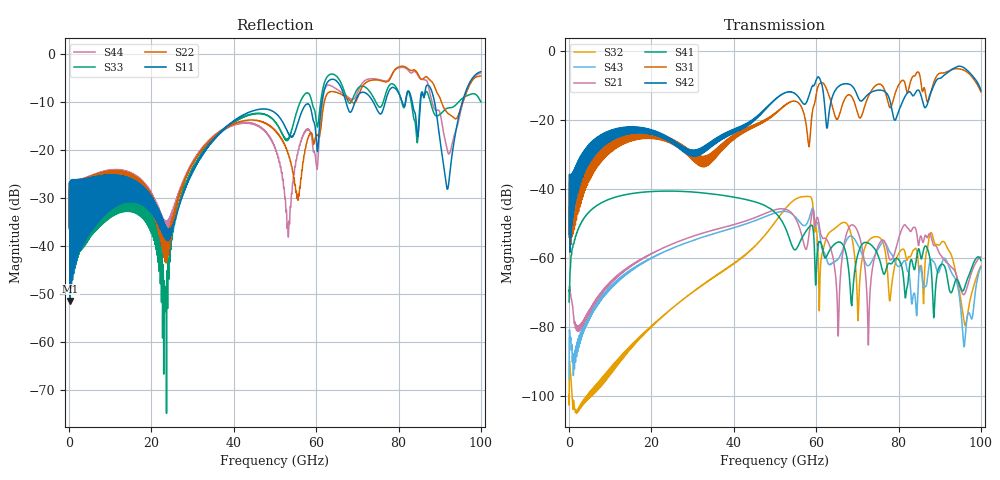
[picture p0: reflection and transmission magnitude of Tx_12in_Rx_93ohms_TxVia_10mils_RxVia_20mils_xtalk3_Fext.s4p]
! Info: Touchstone file created by Circ.  Input file=Tx_12in_Rx_93ohms_TxVia_10mils_RxVia_20mils.circ
# Hz S RI R 50
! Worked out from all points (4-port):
!   10000 points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, 10 MHz to 100 GHz, reference 50 ohm
!   strongest paths, dB at 10 MHz, 25.01 GHz, 50.01 GHz, 75.01 GHz, 100 GHz:
!     S42: -53.2, -26.6, -14.2, -11.4, -11.4
!     S31: -54.0, -26.6, -18.3, -9.7, -11.9
!     S41: -72.7, -40.6, -46.8, -59.1, -60.7
!     S21: -69.7, -55.9, -46.0, -56.6, -59.7
!     S43: -95.0, -57.2, -46.9, -57.4, -62.6
!     S32: -99.6, -74.5, -49.6, -53.9, -62.3
!   lowest |S11| = -51.5 dB at 270 MHz (marker M1), VSWR 1.01, Z = 49.8 - j0.199 ohm
!   |S11| at or under -10 dB: start of sweep to 61.4 GHz; 73.87 GHz to 76.78 GHz (2.913 GHz wide, 3.87 % of centre); 88.75 GHz to 95.49 GHz (6.741 GHz wide, 7.32 % of centre)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
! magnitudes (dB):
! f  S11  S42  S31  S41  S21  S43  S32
! 10 MHz  -35.8  -53.2  -54.0  -72.7  -69.7  -95.0  -99.6
! 270 MHz  -51.5  -47.1  -47.1  -63.3  -69.9  -84.3  -92.5
! 23.44 GHz  -38.2  -24.7  -24.8  -40.6  -56.8  -58.0  -76.0
! 56.71 GHz  -11.6  -15.1  -17.1  -53.8  -54.4  -50.4  -42.2
! 70.19 GHz  -8.6  -13.5  -18.6  -58.7  -52.6  -56.3  -77.8
! 91.86 GHz  -28.2  -6.4  -6.0  -65.9  -61.4  -61.3  -57.1
! 100 GHz  -3.7  -11.4  -11.9  -60.7  -59.7  -62.6  -62.3
